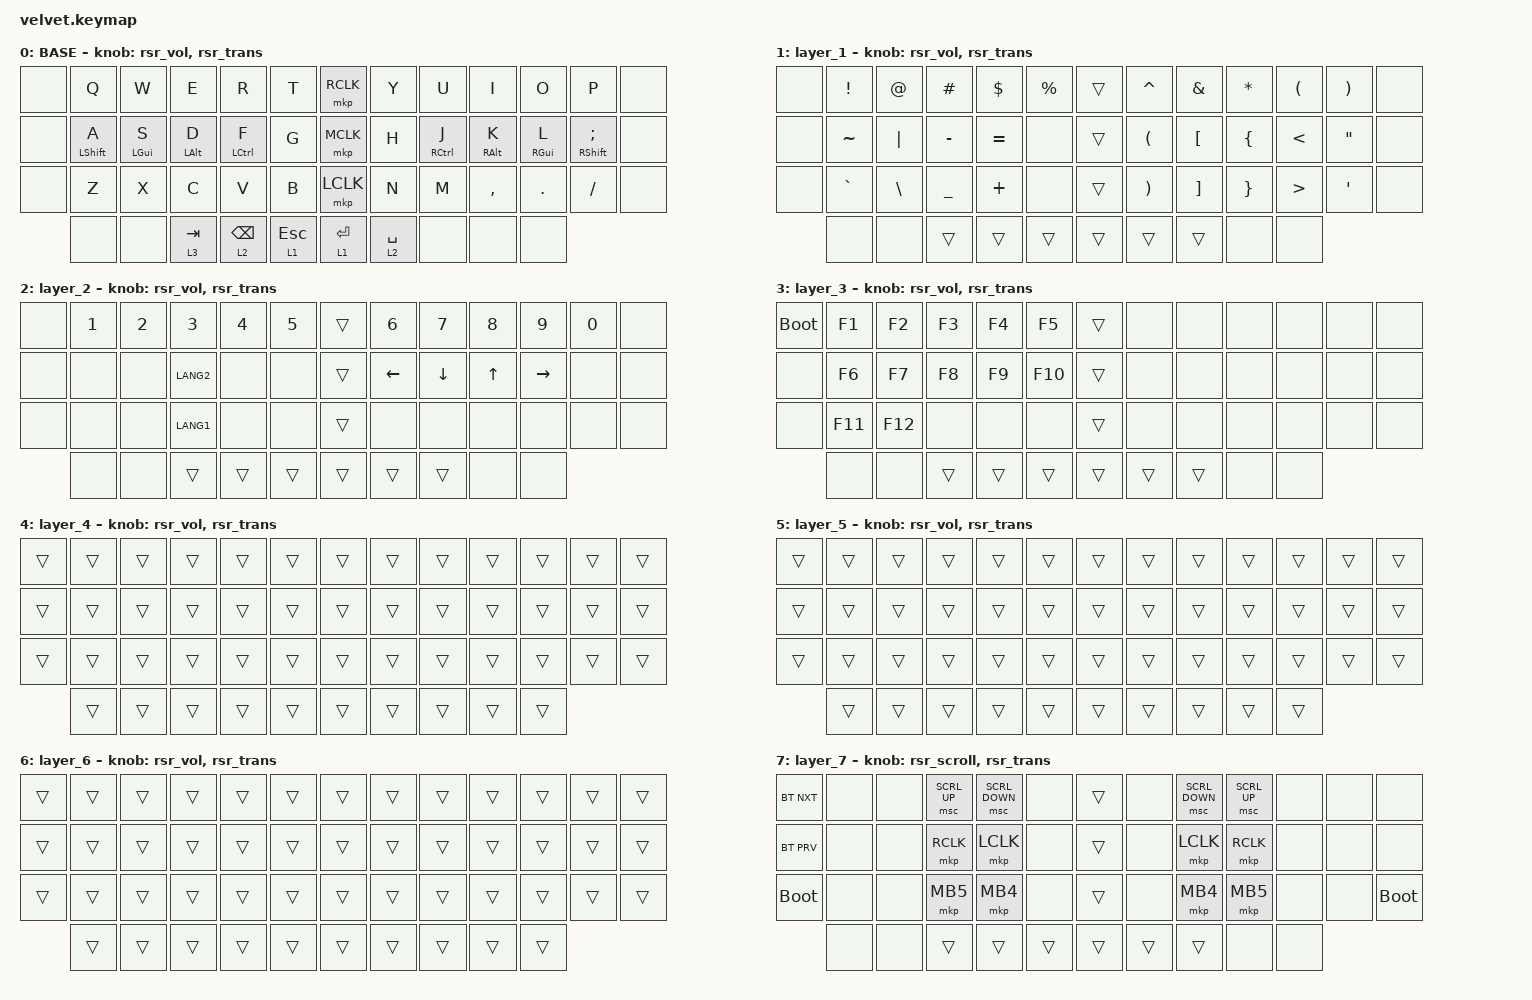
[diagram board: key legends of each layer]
#define BASE 0
#define LOWER 1
#define MOUSE_KEYS 2
#define MOUSE_TP 3
#define MOUSE_TP_SET 4

#include <zephyr/dt-bindings/input/input-event-codes.h>
#include <input/processors.dtsi>
#include <behaviors/runtime-sensor-rotate.dtsi>
#include <behaviors.dtsi>
#include <dt-bindings/zmk/bt.h>
#include <dt-bindings/zmk/keys.h>
#include <dt-bindings/zmk/pointing.h>
#include <dt-bindings/zmk/rgb.h>

&mmv_input_listener { input-processors = <&zip_xy_scaler 2 1>; };

&msc_input_listener { input-processors = <&zip_scroll_scaler 2 1>; };

&msc {
    acceleration-exponent = <1>;      // 0
    time-to-max-speed-ms = <100>;       // 300
    delay-ms = <0>;                   // 0
};

&mmv {
    time-to-max-speed-ms = <500>;
    acceleration-exponent = <1>;
    trigger-period-ms = <16>;
};

#define KEYS_L 0 1 2 3 4 5 13 14 15 16 17 18 26 27 28 29 30 31
#define KEYS_R 7 8 9 10 11 12 20 21 22 23 24 25 33 34 35 36 37 38
#define KEYS_M 6 19 32
#define THUMBS 39 40 41 42 43 44 45 46 47 48

/ {
    scroll_encoder: scroll_encoder {
        compatible = "zmk,behavior-sensor-rotate";
        #sensor-binding-cells = <0>;
        bindings = <&msc SCRL_UP>, <&msc SCRL_DOWN>;

        tap-ms = <100>;
    };

    behaviors {
        td0: td0 {
            compatible = "zmk,behavior-tap-dance";
            display-name = "Shift/Caps Lock Tap Dance";
            #binding-cells = <0>;
            bindings = <&kp LEFT_SHIFT>, <&kp CAPS>;
        };

        ltq: ltq {
            compatible = "zmk,behavior-hold-tap";
            label = "LTQ";
            bindings = <&mo>, <&kp>;

            #binding-cells = <2>;
            tapping-term-ms = <200>;
            quick-tap-ms = <180>;
        };

        // timeless home row mods (urob style)
        hml: home_row_mod_left {
            compatible = "zmk,behavior-hold-tap";
            label = "HML";
            bindings = <&kp>, <&kp>;

            #binding-cells = <2>;
            flavor = "balanced";
            tapping-term-ms = <280>;
            quick-tap-ms = <175>;
            require-prior-idle-ms = <150>;
            hold-trigger-key-positions = <KEYS_R KEYS_M THUMBS>;
            hold-trigger-on-release;
        };

        hmr: home_row_mod_right {
            compatible = "zmk,behavior-hold-tap";
            label = "HMR";
            bindings = <&kp>, <&kp>;

            #binding-cells = <2>;
            flavor = "balanced";
            tapping-term-ms = <280>;
            quick-tap-ms = <175>;
            require-prior-idle-ms = <150>;
            hold-trigger-key-positions = <KEYS_L KEYS_M THUMBS>;
            hold-trigger-on-release;
        };

        rsr_scroll: rsr_scroll {
            compatible = "zmk,behavior-runtime-sensor-rotate";
            #sensor-binding-cells = <0>;
            tap-ms = <5>;
            cw-binding = <&msc SCRL_DOWN>;
            ccw-binding = <&msc SCRL_UP>;
        };

        rsr_vol: rsr_vol {
            compatible = "zmk,behavior-runtime-sensor-rotate";
            #sensor-binding-cells = <0>;
            tap-ms = <5>;
            cw-binding = <&kp C_VOL_UP>;
            ccw-binding = <&kp C_VOL_DN>;
        };
    };

    combos {
        compatible = "zmk,combos";

        flash {
            bindings = <&bootloader>;
            key-positions = <0 11>;
        };
    };

    keymap {
        compatible = "zmk,keymap";

        BASE {
            bindings = <
&none  &kp Q         &kp W        &kp E        &kp R         &kp T  &mkp RCLK  &kp Y  &kp U         &kp I        &kp O        &kp P           &none
&none  &hml LSHFT A  &hml LGUI S  &hml LALT D  &hml LCTRL F  &kp G  &mkp MCLK  &kp H  &hmr RCTRL J  &hmr RALT K  &hmr RGUI L  &hmr RSHFT SEMI  &none
&none  &kp Z         &kp X        &kp C        &kp V         &kp B  &mkp LCLK  &kp N  &kp M         &kp COMMA    &kp DOT      &kp SLASH       &none
       &none  &none  &lt 3 TAB  &lt 2 BSPC  &lt 1 ESC  &lt 1 ENTER       &lt 2 SPACE  &none  &none  &none
            >;

            label = "BASE";
            sensor-bindings = <&rsr_vol &rsr_trans>;
        };

        layer_1 {
            bindings = <
&none  &kp EXCL   &kp AT    &kp HASH   &kp DLLR  &kp PRCNT  &trans  &kp CARET  &kp AMPS  &kp STAR  &kp LPAR  &kp RPAR  &none
&none  &kp TILDE  &kp PIPE  &kp MINUS  &kp EQUAL &none      &trans  &kp LPAR   &kp LBKT  &kp LBRC  &kp LT    &kp DQT   &none
&none  &kp GRAVE  &kp BSLH  &kp UNDER  &kp PLUS  &none      &trans  &kp RPAR   &kp RBKT  &kp RBRC  &kp GT    &kp SQT   &none
       &none  &none  &trans  &trans  &trans  &trans          &trans  &trans  &none  &none
            >;

            sensor-bindings = <&rsr_vol &rsr_trans>;
        };

        layer_2 {
            bindings = <
&none  &kp N1  &kp N2  &kp N3     &kp N4  &kp N5  &trans  &kp N6    &kp N7    &kp N8  &kp N9     &kp N0  &none
&none  &none   &none   &kp LANG2  &none   &none   &trans  &kp LEFT  &kp DOWN  &kp UP  &kp RIGHT  &none   &none
&none  &none   &none   &kp LANG1  &none   &none   &trans  &none     &none     &none   &none      &none   &none
       &none  &none  &trans  &trans  &trans  &trans          &trans  &trans  &none  &none
            >;

            sensor-bindings = <&rsr_vol &rsr_trans>;
        };

        layer_3 {
            bindings = <
&bootloader  &kp F1   &kp F2   &kp F3  &kp F4  &kp F5   &trans  &none  &none  &none  &none  &none  &none
&none        &kp F6   &kp F7   &kp F8  &kp F9  &kp F10  &trans  &none  &none  &none  &none  &none  &none
&none        &kp F11  &kp F12  &none   &none   &none    &trans  &none  &none  &none  &none  &none  &none
       &none  &none  &trans  &trans  &trans  &trans          &trans  &trans  &none  &none
            >;

            sensor-bindings = <&rsr_vol &rsr_trans>;
        };

        layer_4 {
            bindings = <
&trans  &trans  &trans  &trans  &trans  &trans  &trans  &trans  &trans  &trans  &trans  &trans  &trans
&trans  &trans  &trans  &trans  &trans  &trans  &trans  &trans  &trans  &trans  &trans  &trans  &trans
&trans  &trans  &trans  &trans  &trans  &trans  &trans  &trans  &trans  &trans  &trans  &trans  &trans
        &trans  &trans  &trans  &trans  &trans          &trans  &trans  &trans  &trans  &trans
            >;

            sensor-bindings = <&rsr_vol &rsr_trans>;
        };

        layer_5 {
            bindings = <
&trans  &trans  &trans  &trans  &trans  &trans  &trans  &trans  &trans  &trans  &trans  &trans  &trans
&trans  &trans  &trans  &trans  &trans  &trans  &trans  &trans  &trans  &trans  &trans  &trans  &trans
&trans  &trans  &trans  &trans  &trans  &trans  &trans  &trans  &trans  &trans  &trans  &trans  &trans
        &trans  &trans  &trans  &trans  &trans          &trans  &trans  &trans  &trans  &trans
            >;

            sensor-bindings = <&rsr_vol &rsr_trans>;
        };

        layer_6 {
            bindings = <
&trans  &trans  &trans  &trans  &trans  &trans  &trans  &trans  &trans  &trans  &trans  &trans  &trans
&trans  &trans  &trans  &trans  &trans  &trans  &trans  &trans  &trans  &trans  &trans  &trans  &trans
&trans  &trans  &trans  &trans  &trans  &trans  &trans  &trans  &trans  &trans  &trans  &trans  &trans
        &trans  &trans  &trans  &trans  &trans          &trans  &trans  &trans  &trans  &trans
            >;

            sensor-bindings = <&rsr_vol &rsr_trans>;
        };

        layer_7 {
            bindings = <
&bt BT_NXT   &none  &none  &msc SCRL_UP  &msc SCRL_DOWN  &none  &trans  &none  &msc SCRL_DOWN  &msc SCRL_UP  &none  &none  &none
&bt BT_PRV   &none  &none  &mkp RCLK     &mkp LCLK       &none  &trans  &none  &mkp LCLK       &mkp RCLK     &none  &none  &none
&bootloader  &none  &none  &mkp MB5      &mkp MB4        &none  &trans  &none  &mkp MB4        &mkp MB5      &none  &none  &bootloader
       &none  &none  &trans  &trans  &trans  &trans          &trans  &trans  &none  &none
            >;

            sensor-bindings = <&rsr_scroll &rsr_trans>;
        };
    };
};
